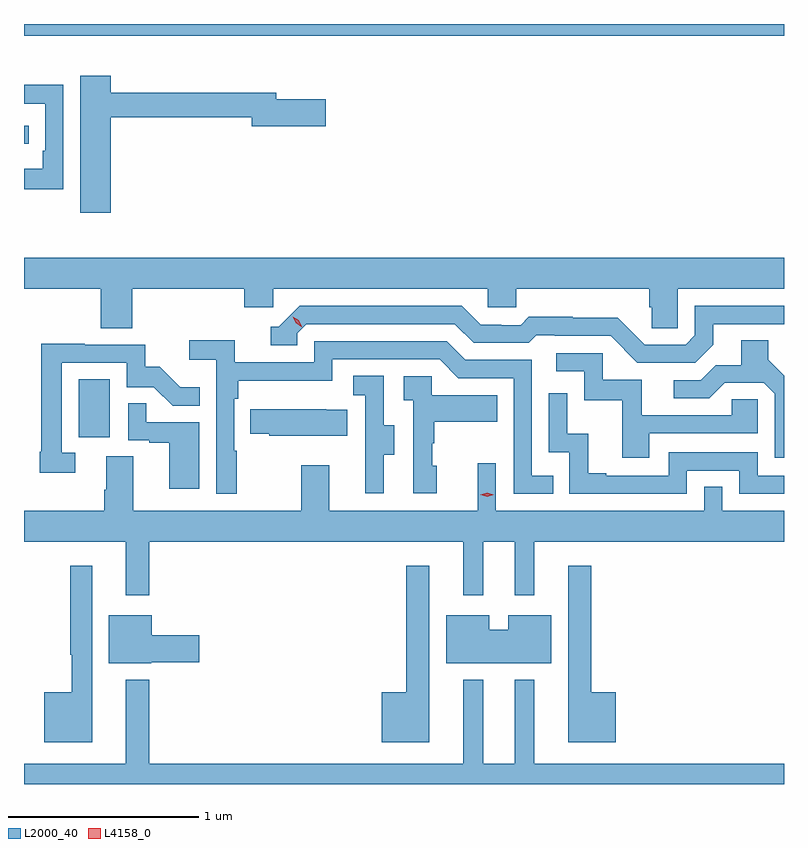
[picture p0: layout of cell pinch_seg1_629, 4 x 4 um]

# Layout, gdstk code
import gdstk
lib = gdstk.Library(unit=1e-6, precision=1e-09)
def R(c, l, rs):  # rectangles x0, y0, x1, y1
    for r in rs: c.add(gdstk.rectangle(r[:2], r[2:], *l))
def P(c, l, *ps):  # polygons
    for p in ps: c.add(gdstk.Polygon(p, *l))
L2000_40 = (2000, 40)
L4158_0 = (4158, 0)

pinch_seg1_629 = lib.new_cell('pinch_seg1_629')
R(pinch_seg1_629, L2000_40, [(1089.95,510.99,1090.114,511.297), (1089.663,512.535,1089.688,512.631), (1089.663,513.104,1093.663,513.166)])
P(pinch_seg1_629, L2000_40, [(1090.12,512.674),(1090.862,512.674),(1090.862,512.627),(1091.251,512.627),(1091.251,512.769),(1090.99,512.769),(1090.99,512.803),(1090.12,512.803),(1090.12,512.893),(1089.959,512.893),(1089.959,512.172),(1090.12,512.172)],
  [(1089.87,512.846),(1089.663,512.846),(1089.663,512.745),(1089.774,512.745),(1089.774,512.5),(1089.761,512.5),(1089.761,512.404),(1089.663,512.404),(1089.663,512.295),(1089.87,512.295)],
  [(1090.232,511.772),(1090.823,511.772),(1090.823,511.674),(1090.974,511.674),(1090.974,511.772),(1092.105,511.772),(1092.105,511.674),(1092.255,511.674),(1092.255,511.772),(1092.953,511.772),(1092.953,511.674),(1092.967,511.674),(1092.967,511.564),(1093.104,511.564),(1093.104,511.772),(1093.663,511.772),(1093.663,511.936),(1089.663,511.936),(1089.663,511.772),(1090.067,511.772),(1090.067,511.564),(1090.232,511.564)],
  [(1093.291,511.477),(1093.291,511.587),(1093.663,511.587),(1093.663,511.683),(1093.194,511.683),(1093.194,511.527),(1093.146,511.479),(1092.93,511.479),(1092.788,511.621),(1092.552,511.621),(1092.552,511.624),(1092.319,511.624),(1092.277,511.581),(1092.174,511.581),(1092.174,511.584),(1092.067,511.584),(1091.968,511.683),(1091.115,511.683),(1091.004,511.572),(1090.961,511.572),(1090.961,511.476),(1091.1,511.476),(1091.1,511.539),(1091.148,511.587),(1091.931,511.587),(1092.03,511.488),(1092.319,511.488),(1092.358,511.527),(1092.457,511.527),(1092.457,511.524),(1092.75,511.524),(1092.891,511.383),(1093.197,511.383)],
  [(1090.783,510.92),(1090.77,510.92),(1090.77,511.193),(1090.79,511.193),(1090.79,511.289),(1091.286,511.289),(1091.286,511.401),(1091.85,511.401),(1091.949,511.302),(1092.24,511.302),(1092.24,510.693),(1092.449,510.693),(1092.449,510.789),(1092.336,510.789),(1092.336,511.398),(1091.986,511.398),(1091.887,511.497),(1091.19,511.497),(1091.19,511.386),(1090.772,511.386),(1090.772,511.502),(1090.533,511.502),(1090.533,511.4),(1090.674,511.4),(1090.674,510.693),(1090.783,510.693)],
  [(1093.663,511.316),(1093.579,511.4),(1093.579,511.502),(1093.439,511.502),(1093.439,511.37),(1093.304,511.37),(1093.224,511.29),(1093.083,511.29),(1093.083,511.197),(1093.27,511.197),(1093.351,511.278),(1093.557,511.278),(1093.614,511.221),(1093.614,510.882),(1093.663,510.882)],
  [(1089.934,510.909),(1089.861,510.909),(1089.861,511.383),(1090.203,511.383),(1090.203,511.254),(1090.347,511.254),(1090.445,511.156),(1090.589,511.156),(1090.589,511.255),(1090.485,511.255),(1090.378,511.362),(1090.302,511.362),(1090.302,511.479),(1089.983,511.479),(1089.983,511.484),(1089.753,511.484),(1089.753,510.916),(1089.745,510.916),(1089.745,510.804),(1089.934,510.804)],
  [(1092.955,511.011),(1093.524,511.011),(1093.524,511.191),(1093.387,511.191),(1093.387,511.107),(1092.913,511.107),(1092.913,511.293),(1092.708,511.293),(1092.708,511.434),(1092.465,511.434),(1092.465,511.338),(1092.612,511.338),(1092.612,511.185),(1092.811,511.185),(1092.811,510.882),(1092.955,510.882)],
  [(1091.557,510.898),(1091.611,510.898),(1091.611,511.053),(1091.556,511.053),(1091.556,511.316),(1091.397,511.316),(1091.397,511.213),(1091.46,511.213),(1091.46,510.909),(1091.459,510.909),(1091.459,510.696),(1091.557,510.696)],
  [(1091.836,510.84),(1091.811,510.84),(1091.811,510.959),(1091.821,510.959),(1091.821,511.073),(1092.155,511.073),(1092.155,511.213),(1091.808,511.213),(1091.808,511.311),(1091.661,511.311),(1091.661,511.187),(1091.712,511.187),(1091.712,510.696),(1091.836,510.696)],
  [(1093.152,510.816),(1093.428,510.816),(1093.428,510.693),(1093.663,510.693),(1093.663,510.789),(1093.524,510.789),(1093.524,510.912),(1093.056,510.912),(1093.056,510.789),(1092.727,510.789),(1092.727,510.802),(1092.632,510.802),(1092.632,511.01),(1092.522,511.01),(1092.522,511.222),(1092.426,511.222),(1092.426,510.912),(1092.534,510.912),(1092.534,510.693),(1093.152,510.693)],
  [(1090.585,511.071),(1090.307,511.071),(1090.307,511.169),(1090.212,511.169),(1090.212,510.975),(1090.323,510.975),(1090.323,510.963),(1090.427,510.963),(1090.427,510.72),(1090.585,510.72)],
  [(1091.363,511.135),(1091.255,511.135),(1091.255,511.138),(1090.855,511.138),(1090.855,511.009),(1090.953,511.009),(1090.953,510.998),(1091.363,510.998)],
  [(1090.321,510.44),(1091.975,510.44),(1091.975,510.159),(1092.079,510.159),(1092.079,510.44),(1092.245,510.44),(1092.245,510.159),(1092.349,510.159),(1092.349,510.44),(1093.663,510.44),(1093.663,510.604),(1093.338,510.604),(1093.338,510.731),(1093.242,510.731),(1093.242,510.604),(1092.147,510.604),(1092.147,510.853),(1092.05,510.853),(1092.05,510.604),(1091.269,510.604),(1091.269,510.844),(1091.122,510.844),(1091.122,510.604),(1090.237,510.604),(1090.237,510.89),(1090.097,510.89),(1090.097,510.716),(1090.085,510.716),(1090.085,510.604),(1089.663,510.604),(1089.663,510.44),(1090.199,510.44),(1090.199,510.159),(1090.321,510.159)],
  [(1092.778,509.65),(1092.649,509.65),(1092.649,510.316),(1092.527,510.316),(1092.527,509.387),(1092.778,509.387)],
  [(1091.797,510.316),(1091.676,510.316),(1091.676,509.65),(1091.546,509.65),(1091.546,509.387),(1091.797,509.387)],
  [(1090.021,510.316),(1089.907,510.316),(1089.907,509.846),(1089.915,509.846),(1089.915,509.65),(1089.77,509.65),(1089.77,509.387),(1090.021,509.387)],
  [(1092.439,510.055),(1092.212,510.055),(1092.212,509.977),(1092.112,509.977),(1092.112,510.055),(1091.885,510.055),(1091.885,509.801),(1092.439,509.801)],
  [(1090.332,509.807),(1090.585,509.807),(1090.585,509.949),(1090.336,509.949),(1090.336,510.055),(1090.109,510.055),(1090.109,509.801),(1090.332,509.801)],
  [(1090.199,509.716),(1090.199,509.272),(1089.663,509.272),(1089.663,509.166),(1093.663,509.166),(1093.663,509.272),(1092.349,509.272),(1092.349,509.716),(1092.245,509.716),(1092.245,509.272),(1092.079,509.272),(1092.079,509.716),(1091.975,509.716),(1091.975,509.272),(1090.321,509.272),(1090.321,509.716)])
P(pinch_seg1_629, L4158_0, [(1092.1,510.679),(1092.064,510.689),(1092.064,510.689),(1092.064,510.689),(1092.1,510.699),(1092.136,510.689),(1092.136,510.689),(1092.136,510.689)],
  [(1091.123,511.573),(1091.093,511.593),(1091.078,511.625),(1091.078,511.626),(1091.078,511.626),(1091.108,511.606),(1091.124,511.573),(1091.124,511.573)])

lib.write_gds('pinch_seg1_629.gds')
